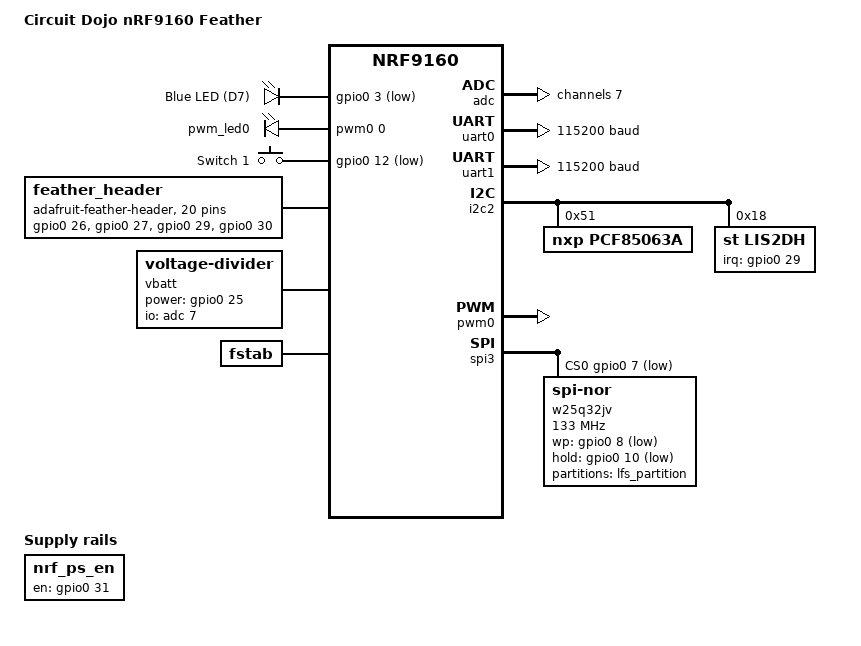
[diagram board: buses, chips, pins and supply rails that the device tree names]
/*
 * Copyright (c) 2018-2020 Nordic Semiconductor ASA
 * Copyright (c) 2020-2026 Circuit Dojo LLC
 *
 * SPDX-License-Identifier: Apache-2.0
 */
#include "circuitdojo_feather_nrf9160_common-pinctrl.dtsi"
#include <zephyr/dt-bindings/input/input-event-codes.h>

/ {
	model = "Circuit Dojo nRF9160 Feather";
	compatible = "circuitdojo,feather-nrf9160";

	chosen {
		zephyr,console = &uart0;
		zephyr,shell-uart = &uart0;
		zephyr,uart-mcumgr = &uart0;
		nordic,modem-trace-uart = &uart1;
		nordic,pm-ext-flash = &w25q32jv;
	};

	leds {
		compatible = "gpio-leds";
		blue_led: led_0 {
			gpios = <&gpio0 3 GPIO_ACTIVE_LOW>;
			label = "Blue LED (D7)";
		};
	};

	pwmleds {
		compatible = "pwm-leds";
		pwm_led0: pwm_led_0 {
			pwms = <&pwm0 0 PWM_MSEC(20) PWM_POLARITY_INVERTED>;
		};
	};

	buttons {
		compatible = "gpio-keys";
		button0: button_0 {
			gpios = <&gpio0 12 (GPIO_PULL_UP | GPIO_ACTIVE_LOW)>;
			label = "Switch 1";
			zephyr,code = <INPUT_KEY_0>;
		};
	};

	/* These aliases are provided for compatibility with samples */
	aliases {
		led0 = &blue_led;
		pwm-led0 = &pwm_led0;
		sw0 = &button0;
		mcuboot-button0 = &button0;
		mcuboot-led0 = &blue_led;
		watchdog0 = &wdt0;
		spi-flash0 = &w25q32jv;
		ext-flash = &w25q32jv;
		accel0 = &lis2dh;
		rtc0 = &pcf85063a;
	};

	/* Used for accessing other pins */
	feather_header: feather_connector {
		compatible = "adafruit-feather-header";
		#gpio-cells = <2>;
		gpio-map-mask = <0xffffffff 0xffffffc0>;
		gpio-map-pass-thru = <0 0x3f>;
		gpio-map = <12 0 &gpio0 26 0>,  /* SDA */
		<13 0 &gpio0 27 0>,  /* SCL */
		<14 0 &gpio0 29 0>,  /* PWM3 */
		<15 0 &gpio0 30 0>,  /* PWM3 */
		<16 0 &gpio0 0 0>,   /* PWM1 */
		<17 0 &gpio0 1 0>,   /* PWM1 */
		<18 0 &gpio0 2 0>,   /* PWM1 */
		<19 0 &gpio0 3 0>,   /* PWM0 */
		<20 0 &gpio0 4 0>,   /* PWM1 */
		/* 11 not connected */
		<10 0 &gpio0 24 0>,  /* TX */
		<9 0 &gpio0 23 0>,   /* RX */
		<8 0 &gpio0 22 0>,   /* MISO */
		<7 0 &gpio0 21 0>,   /* MOSI */
		<6 0 &gpio0 19 0>,   /* SCK */
		<5 0 &gpio0 18 0>,   /* SS */
		<4 0 &gpio0 17 0>,   /* ADC4 = AIN6 */
		<3 0 &gpio0 16 0>,   /* ADC3 = AIN5 */
		<2 0 &gpio0 15 0>,   /* ADC2 = AIN4 */
		<1 0 &gpio0 14 0>,   /* ADC1 = AIN2 */
		<0 0 &gpio0 13 0>;   /* ADC0 = AIN1 */
	};

	nrf-ps-en {
		compatible = "regulator-fixed";
		regulator-name = "nrf_ps_en";
		enable-gpios = <&gpio0 31 GPIO_ACTIVE_HIGH>;
		regulator-boot-on;
	};

	vbatt: vbatt {
		compatible = "voltage-divider";
		io-channels = <&adc 7>;
		output-ohms = <100000>;
		full-ohms = <(100000 + 100000)>;
		power-gpios = <&gpio0 25 GPIO_ACTIVE_HIGH>;
	};

	fstab {
		compatible = "zephyr,fstab";
		lfs: lfs {
			compatible = "zephyr,fstab,littlefs";
			mount-point = "/lfs";
			partition = <&lfs_partition>;
			read-size = <16>;
			prog-size = <16>;
			cache-size = <64>;
			lookahead-size = <32>;
			block-cycles = <512>;
			automount;
		};
	};
};

&adc {
	status = "okay";
	#address-cells = <1>;
	#size-cells = <0>;

	channel@7 {
		reg = <0x7>;
		zephyr,gain = "ADC_GAIN_1_6";
		zephyr,reference = "ADC_REF_INTERNAL";
		zephyr,acquisition-time = <ADC_ACQ_TIME_DEFAULT>;
		zephyr,input-positive = <NRF_SAADC_AIN7>;
		zephyr,resolution = <12>;
		zephyr,vref-mv = <3300>;
	};
};

&gpiote {
	status = "okay";
};

&gpio0 {
	status = "okay";
};

&uart0 {
	status = "okay";
	current-speed = <115200>;
	pinctrl-0 = <&uart0_default>;
	pinctrl-1 = <&uart0_sleep>;
	pinctrl-names = "default", "sleep";
};

&uart1 {
	current-speed = <115200>;
	pinctrl-0 = <&uart1_default>;
	pinctrl-1 = <&uart1_sleep>;
	pinctrl-names = "default", "sleep";
};

&i2c2 {
	compatible = "nordic,nrf-twim";
	status = "okay";

	pinctrl-0 = <&i2c2_default>;
	pinctrl-1 = <&i2c2_sleep>;
	pinctrl-names = "default", "sleep";

	pcf85063a: pcf85063a@51 {
		compatible = "nxp,pcf85063a";
		reg = <0x51>;
	};

	lis2dh: lis2dh@18 {
		compatible = "st,lis2dh";
		reg = <0x18>;
		irq-gpios = <&gpio0 29 GPIO_ACTIVE_HIGH>;
		disconnect-sdo-sa0-pull-up;
	};

};

&pwm0 {
	status = "okay";
	pinctrl-0 = <&pwm0_default>;
	pinctrl-1 = <&pwm0_sleep>;
	pinctrl-names = "default", "sleep";
};

&spi3 {
	compatible = "nordic,nrf-spim";
	status = "okay";
	cs-gpios = <&gpio0 7 GPIO_ACTIVE_LOW>;
	pinctrl-0 = <&spi3_default>;
	pinctrl-1 = <&spi3_sleep>;
	pinctrl-names = "default", "sleep";
	w25q32jv: w25q32jv@0 {
		compatible = "jedec,spi-nor";
		reg = <0>;
		spi-max-frequency = <133000000>;
		wp-gpios = <&gpio0 8 GPIO_ACTIVE_LOW>;
		hold-gpios = <&gpio0 10 GPIO_ACTIVE_LOW>;
		size = <0x400000>;
		has-dpd;
		t-enter-dpd = <30000>;
		t-exit-dpd = <30000>;
		jedec-id = [ ef 40 16  ];
		partitions {
			compatible = "fixed-partitions";
			#address-cells = <1>;
			#size-cells = <1>;

			lfs_partition: partition@0 {
				label = "lfs_partition";
				reg = <0x00000000 DT_SIZE_M(4)>;
			};
		};
	};
};

&flash0 {
	/*
	 * 0x0000_0000  MCUboot                       ( 64 kB)
	 * 0x0001_0000  Primary image area            (448 kB)
	 *   0x0001_0000  Primary secure image        (256 kB)
	 *   0x0005_0000  Primary non-secure image    (192 kB)
	 * 0x0008_0000  Secondary image area          (448 kB)
	 *   0x0008_0000  Secondary secure image      (256 kB)
	 *   0x000c_0000  Secondary non-secure image  (192 kB)
	 * 0x000f_0000  Protected Storage Area        ( 16 kB)
	 * 0x000f_4000  Internal Trusted Storage Area (  8 kB)
	 * 0x000f_6000  OTP / NV counters area        (  8 kB)
	 * 0x000f_8000  Non-secure storage            ( 32 kB)
	 */
	partitions {
		#address-cells = <1>;
		#size-cells = <1>;
		ranges;

		boot_partition: partition@0 {
			compatible = "zephyr,mapped-partition";
			label = "mcuboot";
			reg = <0x00000000 0x10000>;
		};

		slot0_partition: partition@10000 {
			compatible = "zephyr,mapped-partition";
			label = "image-0";
			reg = <0x00010000 0x70000>;
			ranges = <0x0 0x00010000 0x70000>;
			#address-cells = <1>;
			#size-cells = <1>;

			slot0_s_partition: partition@0 {
				compatible = "zephyr,mapped-partition";
				label = "image-0-secure";
				reg = <0x00000000 0x40000>;
			};

			slot0_ns_partition: partition@40000 {
				compatible = "zephyr,mapped-partition";
				label = "image-0-nonsecure";
				reg = <0x00040000 0x30000>;
			};
		};

		slot1_partition: partition@80000 {
			compatible = "zephyr,mapped-partition";
			label = "image-1";
			reg = <0x00080000 0x70000>;
			ranges = <0x0 0x00080000 0x70000>;
			#address-cells = <1>;
			#size-cells = <1>;

			slot1_s_partition: partition@0 {
				compatible = "zephyr,mapped-partition";
				label = "image-1-secure";
				reg = <0x00000000 0x40000>;
			};

			slot1_ns_partition: partition@40000 {
				compatible = "zephyr,mapped-partition";
				label = "image-1-nonsecure";
				reg = <0x00040000 0x30000>;
			};
		};

		tfm_ps_partition: partition@f0000 {
			compatible = "zephyr,mapped-partition";
			label = "tfm-ps";
			reg = <0x000f0000 0x00004000>;
		};

		tfm_its_partition: partition@f4000 {
			compatible = "zephyr,mapped-partition";
			label = "tfm-its";
			reg = <0x000f4000 0x00002000>;
		};

		tfm_otp_partition: partition@f6000 {
			compatible = "zephyr,mapped-partition";
			label = "tfm-otp";
			reg = <0x000f6000 0x00002000>;
		};

		storage_partition: partition@f8000 {
			compatible = "zephyr,mapped-partition";
			label = "storage";
			reg = <0x000f8000 0x00008000>;
		};
	};
};

/ {

	reserved-memory {
		#address-cells = <1>;
		#size-cells = <1>;
		ranges;

		sram0_s: image_s@20000000 {
			/* Secure image memory */
		};

		sram0_ns: image_ns@20016000 {
			/* Non-Secure image memory */
			#address-cells = <1>;
			#size-cells = <1>;

			sram0_modem: sram0_ns_modem: image_modem@0 {
				/* Modem (shared) memory */
				#address-cells = <1>;
				#size-cells = <1>;

				cpuapp_cpucell_ipc_shm_ctrl: image_modem_ctrl@0 {
					/* Modem IPC control */
				};

				cpuapp_cpucell_ipc_shm_heap: image_modem_tx@728 {
					/* Modem IPC transmit */
				};

				cpucell_cpuapp_ipc_shm_heap: image_modem_rx@2800 {
					/* Modem IPC receive */
				};
			};

			sram0_ns_app: image_ns_app@a000 {
				/* Non-Secure application memory */
			};
		};
	};
};

/* Include partition configuration file */
#include "circuitdojo_feather_nrf9160_partition_conf.dtsi"
